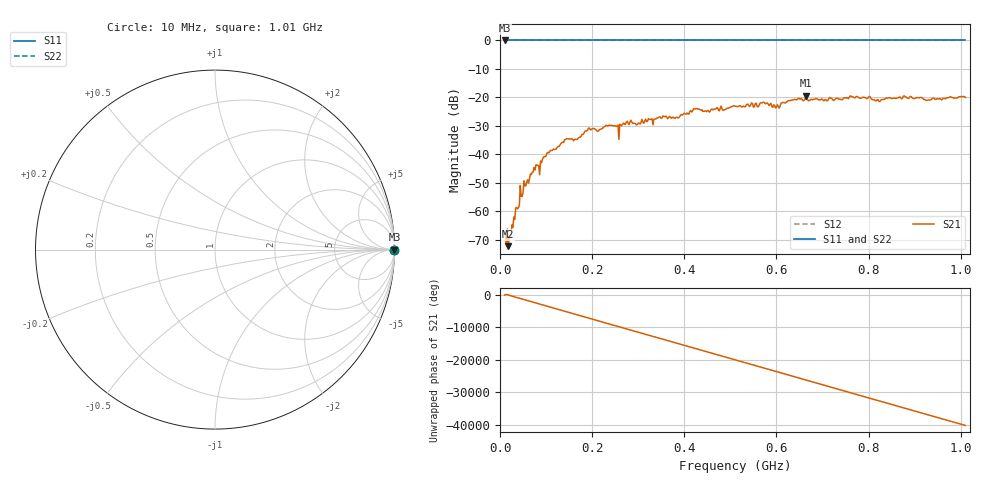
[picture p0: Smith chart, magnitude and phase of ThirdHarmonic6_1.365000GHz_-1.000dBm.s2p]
! 8/16/2025 3:26:19 PM
! C:\ANRITSUVNA\TEMP\TEMP.S2P
! CHANNEL.1
! TR.MEASUREMENT
! RAW.DATA
! RF.CORRECTION.OFF
! AVERAGING.OFF
! IF.BANDWIDTH: 5KHZ
! SWEEPTYPE:  FREQ.SWEEP(Linear)
! Reference Plane Port Info
! PORT:  PORT1  PORT2
! DISTANCE:  0  m  0  m
! TIME:  0  s  0  s
! PHASE.OFFSET:  0  deg.  0  deg.
! LOSS:  0  dB  0  dB
! REF.LOSS:  0  dB  0  dB
! REF.FREQ:  0  Hz  0  Hz
! Power Info
! POWER:  -20  dBm  -20  dBm
! EFF.POWER:  -20  dBm  -20  dBm
! SOURCE.ATTEN:  0  dB  0  dB
! TEST.ATTEN:  0  dB  0  dB
# GHZ S RI R 50.0
! FREQ.GHZ  S11RE  S11IM  S21RE  S21IM  S12RE  S12IM  S22RE  S22IM
!; PortSelection: Port_12
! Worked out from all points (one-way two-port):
!   501 points, 10 MHz to 1.01 GHz, reference 50 ohm
!   highest |S21| = -19.35 dB at 664 MHz (marker M1); lowest = -72.2 dB at 18 MHz (marker M2)
!   lowest |S11| = 0.0 dB at 10 MHz (marker M3)
!   |S11| at or under -10 dB: nowhere
!   |S22| runs from 0.0 to 0.0 dB; largest |S21 - S12| = 1.1
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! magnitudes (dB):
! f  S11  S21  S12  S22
! 10 MHz  0.0  -66.9  0.0  0.0
! 18 MHz  0.0  -72.2  0.0  0.0
! 22 MHz  0.0  -69.4  0.0  0.0
! 48 MHz  0.0  -54.7  0.0  0.0
! 76 MHz  0.0  -45.5  0.0  0.0
! 144 MHz  0.0  -34.5  0.0  0.0
! 178 MHz  0.0  -33.0  0.0  0.0
! 196 MHz  0.0  -31.3  0.0  0.0
! 240 MHz  0.0  -29.8  0.0  0.0
! 254 MHz  0.0  -30.1  0.0  0.0
! 272 MHz  0.0  -29.5  0.0  0.0
! 344 MHz  0.0  -27.1  0.0  0.0
! 384 MHz  0.0  -26.9  0.0  0.0
! 424 MHz  0.0  -24.1  0.0  0.0
! 452 MHz  0.0  -24.7  0.0  0.0
! 510 MHz  0.0  -23.1  0.0  0.0
! 570 MHz  0.0  -21.8  0.0  0.0
! 602 MHz  0.0  -22.6  0.0  0.0
! 664 MHz  0.0  -19.4  0.0  0.0
! 678 MHz  0.0  -20.9  0.0  0.0
! 844 MHz  0.0  -20.1  0.0  0.0
! 1.01 GHz  0.0  -20.0  0.0  0.0
